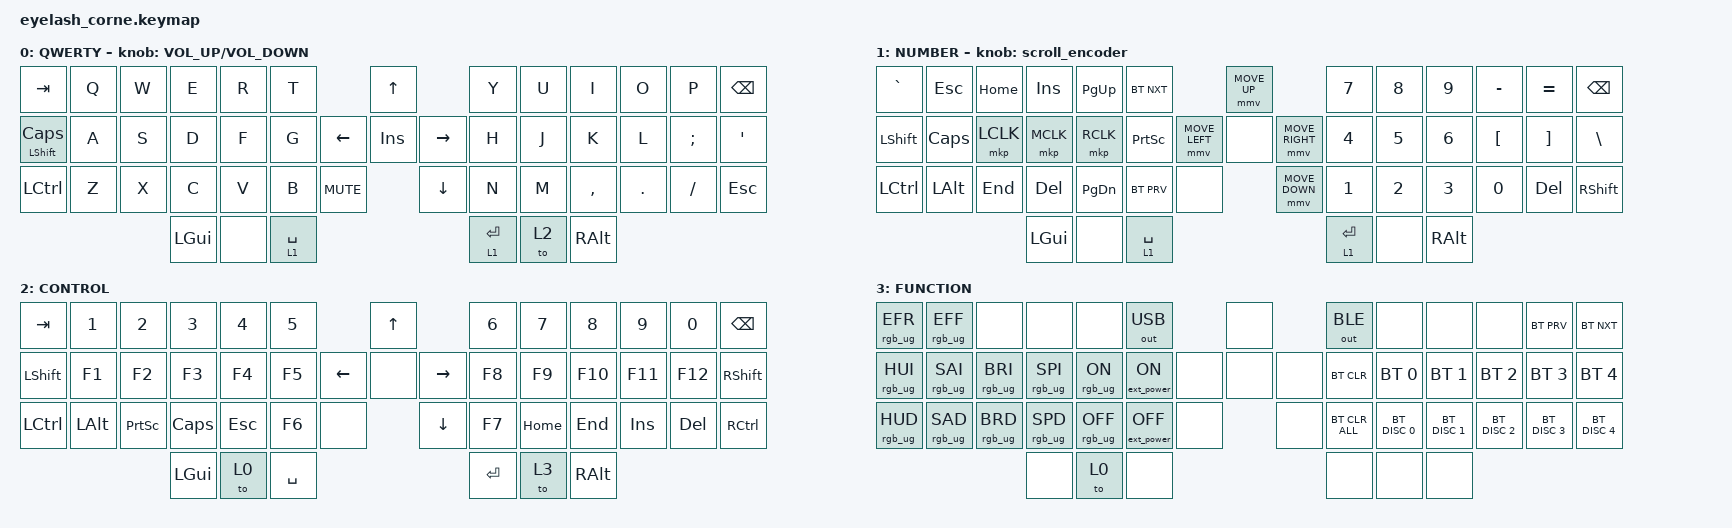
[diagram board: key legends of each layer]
#define ZMK_POINTING_DEFAULT_MOVE_VAL 1200  // 600
#define ZMK_POINTING_DEFAULT_SCRL_VAL 25   // 10

#include <input/processors.dtsi>
#include <zephyr/dt-bindings/input/input-event-codes.h>
#include <behaviors.dtsi>
#include <dt-bindings/zmk/bt.h>
#include <dt-bindings/zmk/ext_power.h>
#include <dt-bindings/zmk/keys.h>
#include <dt-bindings/zmk/outputs.h>
#include <dt-bindings/zmk/pointing.h>
#include <dt-bindings/zmk/rgb.h>

&mmv_input_listener { input-processors = <&zip_xy_scaler 2 1>; };

&msc_input_listener { input-processors = <&zip_scroll_scaler 2 1>; };

&msc {
    acceleration-exponent = <1>;      // 0
    time-to-max-speed-ms = <100>;       // 300
    delay-ms = <0>;                   // 0
};

&mmv {
    time-to-max-speed-ms = <500>;
    acceleration-exponent = <1>;
    trigger-period-ms = <16>;
};

/ {
    behaviors {
    };

    rgb_encoder: rgb_encoder {
        compatible = "zmk,behavior-sensor-rotate";
        #sensor-binding-cells = <0>;
        bindings = <&rgb_ug RGB_BRI>, <&rgb_ug RGB_BRD>;
    };

    scroll_encoder: scroll_encoder {
        compatible = "zmk,behavior-sensor-rotate";
        #sensor-binding-cells = <0>;
        bindings = <&msc SCRL_DOWN>, <&msc SCRL_UP>;

        tap-ms = <100>;
    };

    keymap {
        compatible = "zmk,keymap";

        DEFAULT_0 {
            display-name = "QWERTY";
            bindings = <
&kp TAB                  &kp Q  &kp W  &kp E         &kp R  &kp T                                      &kp UP_ARROW                     &kp Y        &kp U  &kp I          &kp O    &kp P     &kp BSPC
&mt LEFT_SHIFT CAPSLOCK  &kp A  &kp S  &kp D         &kp F  &kp G                      &kp LEFT_ARROW  &kp INSERT      &kp RIGHT_ARROW  &kp H        &kp J  &kp K          &kp L    &kp SEMI  &kp SQT
&kp LEFT_CONTROL         &kp Z  &kp X  &kp C         &kp V  &kp B        &kp C_MUTE                    &kp DOWN_ARROW                   &kp N        &kp M  &kp COMMA      &kp DOT  &kp FSLH  &kp ESC
                                       &kp LEFT_GUI  &none  &lt 1 SPACE                                                                 &lt 1 ENTER  &to 2  &kp RIGHT_ALT
            >;

            sensor-bindings = <&inc_dec_kp C_VOLUME_UP C_VOLUME_DOWN>;
        };

        DEFAULT_1 {
            display-name = "NUMBER";
            bindings = <
&kp GRAVE         &kp ESCAPE    &kp HOME   &kp INSERT    &kp PAGE_UP    &bt BT_NXT                                &mmv MOVE_UP                     &kp NUMBER_7  &kp NUMBER_8  &kp NUMBER_9   &kp MINUS         &kp EQUAL          &kp BACKSPACE
&kp LEFT_SHIFT    &kp CAPSLOCK  &mkp LCLK  &mkp MCLK     &mkp RCLK      &kp PRINTSCREEN           &mmv MOVE_LEFT  &none           &mmv MOVE_RIGHT  &kp NUMBER_4  &kp NUMBER_5  &kp NUMBER_6   &kp LEFT_BRACKET  &kp RIGHT_BRACKET  &kp BACKSLASH
&kp LEFT_CONTROL  &kp LEFT_ALT  &kp END    &kp DELETE    &kp PAGE_DOWN  &bt BT_PRV       &none                    &mmv MOVE_DOWN                   &kp NUMBER_1  &kp NUMBER_2  &kp NUMBER_3   &kp NUMBER_0      &kp DELETE         &kp RIGHT_SHIFT
                                           &kp LEFT_GUI  &none          &lt 1 SPACE                                                                &lt 1 ENTER   &none         &kp RIGHT_ALT
            >;

            sensor-bindings = <&scroll_encoder>;
        };

        CONTROL_2 {
            display-name = "CONTROL";
            bindings = <
&kp TAB           &kp NUMBER_1  &kp NUMBER_2     &kp NUMBER_3  &kp NUMBER_4  &kp NUMBER_5                           &kp UP_ARROW                     &kp NUMBER_6  &kp NUMBER_7  &kp NUMBER_8   &kp NUMBER_9  &kp NUMBER_0  &kp BSPC
&kp LEFT_SHIFT    &kp F1        &kp F2           &kp F3        &kp F4        &kp F5                 &kp LEFT_ARROW  &none           &kp RIGHT_ARROW  &kp F8        &kp F9        &kp F10        &kp F11       &kp F12       &kp RIGHT_SHIFT
&kp LEFT_CONTROL  &kp LEFT_ALT  &kp PRINTSCREEN  &kp CAPSLOCK  &kp ESCAPE    &kp F6        &none                    &kp DOWN_ARROW                   &kp F7        &kp HOME      &kp END        &kp INSERT    &kp DELETE    &kp RIGHT_CONTROL
                                                 &kp LEFT_GUI  &to 0         &kp SPACE                                                               &kp ENTER     &to 3         &kp RIGHT_ALT
            >;
        };

        FUNCTION_3 {
            display-name = "FUNCTION";
            bindings = <
&rgb_ug RGB_EFR  &rgb_ug RGB_EFF  &none            &none            &none            &out OUT_USB                       &none         &out OUT_BLE    &none          &none          &none          &bt BT_PRV     &bt BT_NXT
&rgb_ug RGB_HUI  &rgb_ug RGB_SAI  &rgb_ug RGB_BRI  &rgb_ug RGB_SPI  &rgb_ug RGB_ON   &ext_power EP_ON            &none  &none  &none  &bt BT_CLR      &bt BT_SEL 0   &bt BT_SEL 1   &bt BT_SEL 2   &bt BT_SEL 3   &bt BT_SEL 4
&rgb_ug RGB_HUD  &rgb_ug RGB_SAD  &rgb_ug RGB_BRD  &rgb_ug RGB_SPD  &rgb_ug RGB_OFF  &ext_power EP_OFF  &none           &none         &bt BT_CLR_ALL  &bt BT_DISC 0  &bt BT_DISC 1  &bt BT_DISC 2  &bt BT_DISC 3  &bt BT_DISC 4
                                                   &none            &to 0            &none                                            &none           &none          &none
            >;
        };
    };
};
